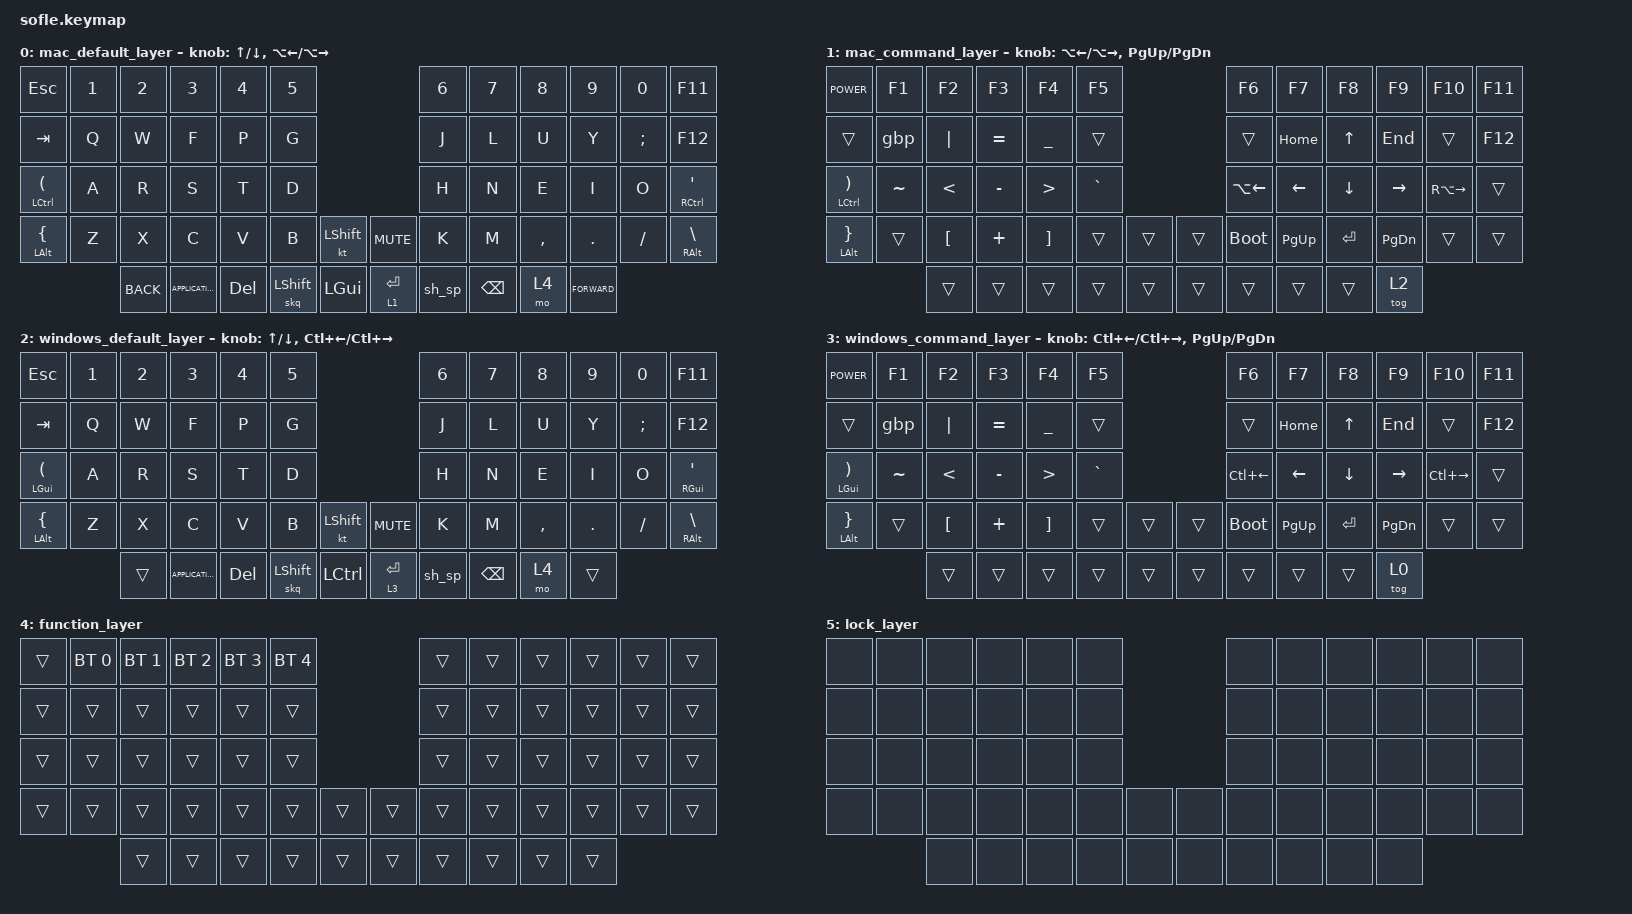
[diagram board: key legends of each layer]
/*
 * Copyright (c) 2020 The ZMK Contributors
 *
 * SPDX-License-Identifier: MIT
 */

#include <behaviors.dtsi>
#include <dt-bindings/zmk/keys.h>
#include <dt-bindings/zmk/bt.h>
#include <dt-bindings/zmk/rgb.h>
#include <dt-bindings/zmk/ext_power.h>

/ {
    combos {
        compatible = "zmk,combos";

        Undo {
            bindings = <&kp LG(Z)>;
            key-positions = <15 14>;
            layers = <0 1>;
        };

        Backspace {
            bindings = <&kp LA(BACKSPACE)>;
            key-positions = <20 21>;
            layers = <0 1>;
        };

        Undo_windows {
            bindings = <&kp LC(Z)>;
            key-positions = <14 15>;
            layers = <2 3>;
        };

        Backspace_word_windows {
            bindings = <&kp LC(BACKSPACE)>;
            key-positions = <20 21>;
            layers = <2 3>;
        };

        Lock {
            bindings = <&tog 5>;
            key-positions = <0 50 59 11>;
        };
    };

    behaviors {
        mo_tog: behavior_mo_tog {
            compatible = "zmk,behavior-hold-tap";
            label = "mo_tog";
            #binding-cells = <2>;
            flavor = "hold-preferred";
            tapping-term-ms = <200>;
            bindings =
                <&mo>,
                <&tog>;
        };
        lh: behavior_layer_hold {
            compatible = "zmk,behavior-hold-tap";
            label = "layer_hold_tap";
            #binding-cells = <2>;
            flavor = "hold-preferred";
            tapping-term-ms = <200>;
            bindings =
                <&mo>,
                <&kp>;
        };
        sh_sp: behavior_shifted_key {
            compatible = "zmk,behavior-mod-morph";
            label = "SHIFTED_KEY";
            #binding-cells = <0>;
            bindings =
                <&kp SPACE>,
                <&kp UNDERSCORE>;

            mods = <(MOD_LSFT|MOD_RSFT)>;
        };
        skq: sticky_key_quick_release {
            compatible = "zmk,behavior-sticky-key";
            label = "STICKY_KEY_QUICK_RELEASE";
            #binding-cells = <1>;
            bindings = <&kp>;
            release-after-ms = <1000>;
            quick-release;
        };
        gqt: global-quick-tap {
            compatible = "zmk,behavior-hold-tap";
            label = "GLOBAL_QUICK_TAP";
            #binding-cells = <2>;
            flavor = "tap-preferred";
            tapping-term-ms = <200>;
            quick-tap-ms = <125>;
            global-quick-tap;
            bindings =
                <&kp>,
                <&kp>;
        };
    };

    macros {
        gbp: gbp {
            label = "GBP";
            compatible = "zmk,behavior-macro";
            #binding-cells = <0>;
            wait-ms = <40>;
            tap-ms = <40>;
            bindings =
                <&macro_press>,
                <&kp LALT>,
                <&macro_tap>,
                <&kp KP_N0 &kp KP_N1 &kp KP_N6 &kp KP_N3>,
                <&macro_release>,
                <&kp LALT>;
        };
    };

    keymap {
        compatible = "zmk,keymap";

        mac_default_layer {
            bindings = <
                            &kp ESC  &kp N1      &kp N2             &kp N3      &kp N4       &kp N5                             &kp N6         &kp N7     &kp N8         &kp N9         &kp N0                          &kp F11
                            &kp TAB   &kp Q       &kp W              &kp F       &kp P        &kp G                              &kp J          &kp L      &kp U          &kp Y  &kp SEMICOLON                          &kp F12
 &gqt LEFT_CONTROL LEFT_PARENTHESIS   &kp A       &kp R              &kp S       &kp T        &kp D                              &kp H          &kp N      &kp E          &kp I          &kp O  &gqt RIGHT_CONTROL SINGLE_QUOTE
            &mt LEFT_ALT LEFT_BRACE   &kp Z       &kp X              &kp C       &kp V        &kp B    &kt LSHIFT   &kp K_MUTE   &kp K          &kp M  &kp COMMA        &kp DOT       &kp FSLH          &mt RIGHT_ALT BACKSLASH
                                             &kp K_BACK  &kp K_APPLICATION  &kp DELETE  &skq LSHIFT  &kp LEFT_GUI  &lh 1 ENTER  &sh_sp  &kp BACKSPACE      &mo 4  &kp K_FORWARD
            >;

            sensor-bindings = <&inc_dec_kp UP DOWN &inc_dec_kp LA(LEFT) LA(RIGHT)>;
        };

        mac_command_layer {
            bindings = <
                         &kp C_POWER     &kp F1            &kp F2     &kp F3             &kp F4     &kp F5                        &kp F6       &kp F7     &kp F8         &kp F9        &kp F10  &kp F11
                              &trans       &gbp          &kp PIPE  &kp EQUAL     &kp UNDERSCORE     &trans                        &trans     &kp HOME     &kp UP        &kp END         &trans  &kp F12
 &gqt LEFT_CONTROL RIGHT_PARENTHESIS  &kp TILDE     &kp LESS_THAN  &kp MINUS   &kp GREATER_THAN  &kp GRAVE                  &kp LA(LEFT)     &kp LEFT   &kp DOWN      &kp RIGHT  &kp RA(RIGHT)   &trans
            &mt LEFT_ALT RIGHT_BRACE     &trans  &kp LEFT_BRACKET   &kp PLUS  &kp RIGHT_BRACKET     &trans  &trans  &trans   &bootloader  &kp PAGE_UP  &kp ENTER  &kp PAGE_DOWN         &trans   &trans
                                                           &trans     &trans             &trans     &trans  &trans  &trans        &trans       &trans     &trans         &tog 2
            >;

            sensor-bindings = <&inc_dec_kp LA(LEFT) LA(RIGHT) &inc_dec_kp PG_UP PG_DN>;
        };

        windows_default_layer {
            bindings = <
                        &kp ESC  &kp N1  &kp N2             &kp N3      &kp N4       &kp N5                                 &kp N6         &kp N7     &kp N8   &kp N9         &kp N0                      &kp F11
                        &kp TAB   &kp Q   &kp W              &kp F       &kp P        &kp G                                  &kp J          &kp L      &kp U    &kp Y  &kp SEMICOLON                      &kp F12
 &gqt LEFT_GUI LEFT_PARENTHESIS   &kp A   &kp R              &kp S       &kp T        &kp D                                  &kp H          &kp N      &kp E    &kp I          &kp O  &gqt RIGHT_GUI SINGLE_QUOTE
        &mt LEFT_ALT LEFT_BRACE   &kp Z   &kp X              &kp C       &kp V        &kp B        &kt LSHIFT   &kp K_MUTE   &kp K          &kp M  &kp COMMA  &kp DOT       &kp FSLH      &mt RIGHT_ALT BACKSLASH
                                         &trans  &kp K_APPLICATION  &kp DELETE  &skq LSHIFT  &kp LEFT_CONTROL  &lh 3 ENTER  &sh_sp  &kp BACKSPACE      &mo 4   &trans
            >;

            sensor-bindings = <&inc_dec_kp UP DOWN &inc_dec_kp LC(LEFT) LC(RIGHT)>;
        };

        windows_command_layer {
            bindings = <
                     &kp C_POWER     &kp F1            &kp F2     &kp F3             &kp F4     &kp F5                        &kp F6       &kp F7     &kp F8         &kp F9        &kp F10  &kp F11
                          &trans       &gbp          &kp PIPE  &kp EQUAL     &kp UNDERSCORE     &trans                        &trans     &kp HOME     &kp UP        &kp END         &trans  &kp F12
 &gqt LEFT_GUI RIGHT_PARENTHESIS  &kp TILDE     &kp LESS_THAN  &kp MINUS   &kp GREATER_THAN  &kp GRAVE                  &kp LC(LEFT)     &kp LEFT   &kp DOWN      &kp RIGHT  &kp LC(RIGHT)   &trans
        &mt LEFT_ALT RIGHT_BRACE     &trans  &kp LEFT_BRACKET   &kp PLUS  &kp RIGHT_BRACKET     &trans  &trans  &trans   &bootloader  &kp PAGE_UP  &kp ENTER  &kp PAGE_DOWN         &trans   &trans
                                                       &trans     &trans             &trans     &trans  &trans  &trans        &trans       &trans     &trans         &tog 0
            >;

            sensor-bindings = <&inc_dec_kp LC(LEFT) LC(RIGHT) &inc_dec_kp PG_UP PG_DN>;
        };

        function_layer {
            bindings = <
 &trans  &bt BT_SEL 0  &bt BT_SEL 1  &bt BT_SEL 2  &bt BT_SEL 3  &bt BT_SEL 4                  &trans  &trans  &trans  &trans  &trans  &trans
 &trans        &trans        &trans        &trans        &trans        &trans                  &trans  &trans  &trans  &trans  &trans  &trans
 &trans        &trans        &trans        &trans        &trans        &trans                  &trans  &trans  &trans  &trans  &trans  &trans
 &trans        &trans        &trans        &trans        &trans        &trans  &trans  &trans  &trans  &trans  &trans  &trans  &trans  &trans
                             &trans        &trans        &trans        &trans  &trans  &trans  &trans  &trans  &trans  &trans
            >;
        };

        lock_layer {
            bindings = <
 &none  &none  &none  &none  &none  &none                  &none  &none  &none  &none  &none  &none
 &none  &none  &none  &none  &none  &none                  &none  &none  &none  &none  &none  &none
 &none  &none  &none  &none  &none  &none                  &none  &none  &none  &none  &none  &none
 &none  &none  &none  &none  &none  &none  &none  &none  &none  &none  &none  &none  &none  &none
                 &none  &none  &none  &none  &none  &none  &none  &none  &none  &none
            >;
        };
    };
};
